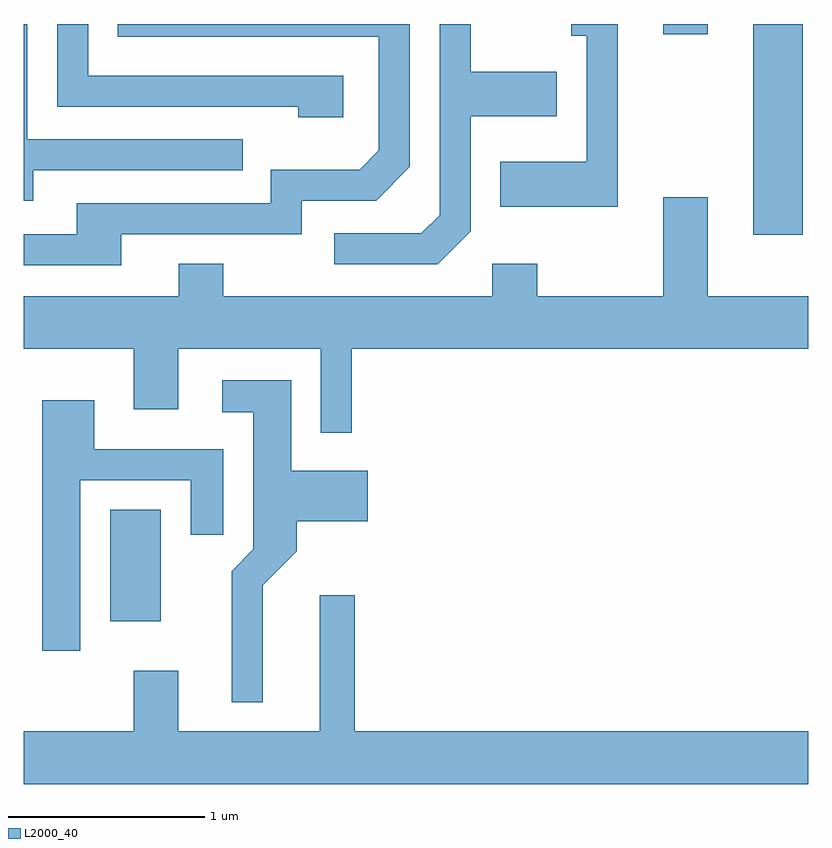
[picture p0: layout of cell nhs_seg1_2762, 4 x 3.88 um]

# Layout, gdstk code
import gdstk
lib = gdstk.Library(unit=1e-6, precision=1e-09)
def R(c, l, rs):  # rectangles x0, y0, x1, y1
    for r in rs: c.add(gdstk.rectangle(r[:2], r[2:], *l))
def P(c, l, *ps):  # polygons
    for p in ps: c.add(gdstk.Polygon(p, *l))
L2000_40 = (2000, 40)

nhs_seg1_2762 = lib.new_cell('nhs_seg1_2762')
R(nhs_seg1_2762, L2000_40, [(270.051,862.666,270.309,863.234), (273.331,864.636,273.584,865.712), (272.871,865.661,273.099,865.712)])
P(nhs_seg1_2762, L2000_40, [(271.239,865.449),(269.939,865.449),(269.939,865.712),(269.781,865.712),(269.781,865.291),(271.011,865.291),(271.011,865.236),(271.239,865.236)],
  [(270.109,864.641),(271.029,864.641),(271.029,864.811),(271.407,864.811),(271.579,864.984),(271.579,865.712),(270.091,865.712),(270.091,865.646),(271.421,865.646),(271.421,865.067),(271.324,864.969),(270.871,864.969),(270.871,864.799),(269.881,864.799),(269.881,864.639),(269.611,864.639),(269.611,864.481),(270.109,864.481)],
  [(271.889,864.654),(271.889,865.241),(272.329,865.241),(272.329,865.469),(271.889,865.469),(271.889,865.712),(271.731,865.712),(271.731,864.737),(271.639,864.644),(271.193,864.644),(271.193,864.486),(271.722,864.486)],
  [(269.659,864.966),(270.728,864.966),(270.728,865.124),(269.629,865.124),(269.629,865.712),(269.611,865.712),(269.611,864.811),(269.659,864.811)],
  [(272.639,865.712),(272.403,865.712),(272.403,865.651),(272.481,865.651),(272.481,865.009),(272.041,865.009),(272.041,864.781),(272.639,864.781)],
  [(271.284,864.056),(273.611,864.056),(273.611,864.324),(273.099,864.324),(273.099,864.829),(272.871,864.829),(272.871,864.324),(272.229,864.324),(272.229,864.489),(272.001,864.489),(272.001,864.324),(270.629,864.324),(270.629,864.489),(270.401,864.489),(270.401,864.324),(269.611,864.324),(269.611,864.056),(270.171,864.056),(270.171,863.746),(270.399,863.746),(270.399,864.056),(271.126,864.056),(271.126,863.628),(271.284,863.628)],
  [(270.829,862.849),(271.004,863.024),(271.004,863.176),(271.364,863.176),(271.364,863.434),(270.974,863.434),(270.974,863.894),(270.623,863.894),(270.623,863.731),(270.781,863.731),(270.781,863.032),(270.671,862.922),(270.671,862.253),(270.829,862.253)],
  [(269.899,863.386),(270.461,863.386),(270.461,863.108),(270.629,863.108),(270.629,863.544),(269.969,863.544),(269.969,863.794),(269.706,863.794),(269.706,862.516),(269.899,862.516)],
  [(273.611,862.104),(271.299,862.104),(271.299,862.799),(271.121,862.799),(271.121,862.104),(270.399,862.104),(270.399,862.414),(270.171,862.414),(270.171,862.104),(269.611,862.104),(269.611,861.836),(273.611,861.836)])

lib.write_gds('nhs_seg1_2762.gds')
